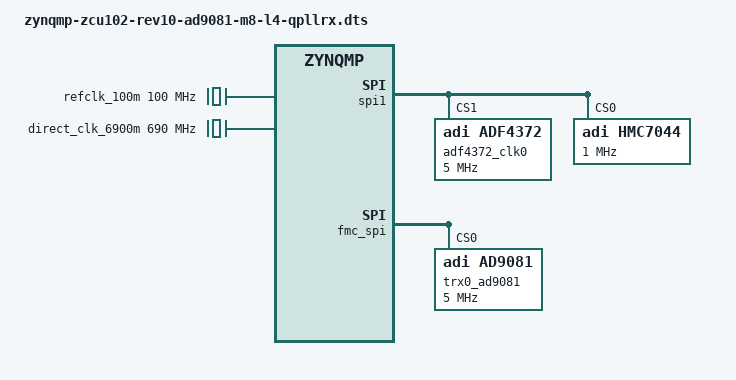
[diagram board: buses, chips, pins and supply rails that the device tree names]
// SPDX-License-Identifier: GPL-2.0
/*
 * Analog Devices AD9081-FMC-EBZ
 * https://wiki.analog.com/resources/eval/user-guides/quadmxfe/quick-start
 * https://wiki.analog.com/resources/tools-software/linux-drivers/iio-mxfe/ad9081
 *
 * hdl_project: <ad9081_fmca_ebz/zcu102>
 * board_revision: <>
 *
 * Copyright (C) 2019-2020 Analog Devices Inc.
 */

#include "zynqmp-zcu102-rev10-ad9081.dts"
#include <dt-bindings/jesd204/adxcvr.h>

/*
 * This is an alternative example device tree which uses QPLL for both adxcvr instances.
 * For this to work both instances need to configure the same lane rate.
 * Below configuration only works on an AD9081-FMC-EBZ Rev.C board with 100MHz VCXO.
 * In case you want to try it on a board with 122.880MHz VCXO comment/uncomment lines below.
 *
 * The Rx links (ADC Path) operate with the following parameters:
 *
 *    * Rx Deframer parameters: L=4, M=8, F=4, S=1, N’=16, N = 16
 *    * Dual link : No
 *    * RX_DEVICE_CLK – 287.5 MHz (Lane Rate/40)
 *    * REF_CLK – 575 MHz (Lane Rate/20)
 *    * JESD204B Lane Rate – 11.5Gbps
 *    * QPLL0
 *    * K = 32
 *    * ADC Clock Rate 2.3 G with Decimation /8
 *
 * The Tx links (DAC Path) operate with the following parameters:
 *
 *    * Tx Framer parameters: L=4, M=8, F=4, S=1, N’=16, N = 16
 *    * Dual link : No
 *    * TX_DEVICE_CLK – 287.5 MHz (Lane Rate/40)
 *    * REF_CLK – 575 MHz (Lane Rate/20)
 *    * JESD204B Lane Rate – 11.5Gbps
 *    * QPLL0
 *    * K = 32
 *    * DAC Clock Rate 6.9 G with Interpolation *24
 */

// #define VCXO_FREQUENCY		122880000
// #define EXT_REF_FREQUENCY       30720000
// #define HMC7044_PLL2_FREQUENCY	2874880000
// #define DAC_FREQUENCY		6899712000
// #define ADC_FREQUENCY		2299904000

#define VCXO_FREQUENCY		100000000
#define EXT_REF_FREQUENCY       100000000
#define HMC7044_PLL2_FREQUENCY	2875000000
#define DAC_FREQUENCY		6900000000
#define ADC_FREQUENCY		2300000000

/ {
	clocks {
		refclk_100m: clock@0 {
			#clock-cells = <0>;
			compatible = "fixed-clock";
			clock-frequency = <100000000>;
			clock-output-names = "refclk_100m";
		};

                direct_clk_6900m: clock@1 {
			#clock-cells = <0>;
			compatible = "fixed-clock";
			clock-frequency = <690000000>; /* DAC_FREQUENCY / 10 */
			clock-output-names = "direct_clk_6900m";
		};
	};
};

&axi_ad9081_adxcvr_rx {
        /* Switch to QPLL */
	adi,sys-clk-select = <XCVR_QPLL>;
	adi,out-clk-select = <XCVR_REFCLK_DIV2>;

};

&spi1 {
	status = "okay";

	adf4372_clk0: adf4372-0@1 {
		compatible = "adi,adf4372";
		reg = <1>; /* FIXME - UPDATE ME */

		#address-cells = <1>;
		#clock-cells = <1>;
		#size-cells = <0>;

		spi-max-frequency = <5000000>;
		adi,spi-3wire-enable;
		adi,muxout-select = <1>;
		clocks = <&refclk_100m>;
		clock-names = "clkin";
		clock-output-names = "pll0-clk-rf8", "pll0-clk-rfaux8",
			"pll0-clk-rf16";

                clock-scales = <1 10>; /* 6.9G > 2^32 let's scale by 10 */

                channel@0 {
			reg = <0>;
			adi,power-up-frequency = /bits/ 64 <DAC_FREQUENCY>;
		};
	};

	hmc7044: hmc7044@0 {
		#address-cells = <1>;
		#size-cells = <0>;
		#clock-cells = <1>;
		compatible = "adi,hmc7044";
		reg = <0>;
		spi-max-frequency = <1000000>;

		jesd204-device;
		#jesd204-cells = <2>;
		jesd204-sysref-provider;

		adi,jesd204-max-sysref-frequency-hz = <2000000>; /* 2 MHz */

		adi,pll1-clkin-frequencies = <VCXO_FREQUENCY EXT_REF_FREQUENCY 0 0>;

                adi,pll1-ref-prio-ctrl = <0xE1>; /* prefer CLKIN1 -> CLKIN0 -> CLKIN2 -> CLKIN3 */

		adi,pll1-loop-bandwidth-hz = <200>;

		adi,vcxo-frequency = <VCXO_FREQUENCY>;

		adi,pll2-output-frequency = <HMC7044_PLL2_FREQUENCY>;

		adi,sysref-timer-divider = <1024>;
		adi,pulse-generator-mode = <0>;

		adi,clkin0-buffer-mode  = <0x07>;
		adi,clkin1-buffer-mode  = <0x07>;
		adi,oscin-buffer-mode = <0x15>;

		adi,gpi-controls = <0x00 0x00 0x00 0x00>;
		adi,gpo-controls = <0x37 0x33 0x00 0x00>;

                adi,sync-pin-mode = <0>;

		clock-output-names =
                        "hmc7044_out0", "hmc7044_out1", "hmc7044_out2",
                        "hmc7044_out3", "hmc7044_out4", "hmc7044_out5",
                        "hmc7044_out6", "hmc7044_out7", "hmc7044_out8",
                        "hmc7044_out9", "hmc7044_out10", "hmc7044_out11",
                        "hmc7044_out12", "hmc7044_out13";

		// hmc7044_c0: channel@0 {
		// 	reg = <0>;
		// 	adi,extended-name = "CORE_CLK_RX";
		// 	adi,divider = <8>;
		// 	adi,driver-mode = <HMC7044_DRIVER_MODE_LVDS>;
		// };
		hmc7044_c2: channel@2 {
			reg = <2>;
			adi,extended-name = "DEV_REFCLK";
			adi,divider = <10>; /* 287.5 MHz*/
			adi,driver-mode = <HMC7044_DRIVER_MODE_LVDS>;
		};
		hmc7044_c3: channel@3 {
			reg = <3>;
			adi,extended-name = "DEV_SYSREF";
			adi,divider = <1280>; /* Recomputed by jesd204-fsm */
			adi,driver-mode = <HMC7044_DRIVER_MODE_LVDS>;
			adi,jesd204-sysref-chan;
		};

		hmc7044_c6: channel@6 {
			reg = <6>;
			adi,extended-name = "CORE_CLK_TX";
			adi,divider = <10>; /* 287.5 MHz*/
			adi,driver-mode = <HMC7044_DRIVER_MODE_LVDS>;
		};

		// hmc7044_c8: channel@8 {
		// 	reg = <8>;
		// 	adi,extended-name = "FPGA_REFCLK1";
		// 	adi,divider = <8>;
		// 	adi,driver-mode = <HMC7044_DRIVER_MODE_LVDS>;
		// };
		hmc7044_c10: channel@10 {
			reg = <10>;
			adi,extended-name = "CORE_CLK_RX_ALT";
			adi,divider = <10>; /* 287.5 MHz*/
			adi,driver-mode = <HMC7044_DRIVER_MODE_LVDS>;
		};

		hmc7044_c12: channel@12 {
			reg = <12>;
			adi,extended-name = "FPGA_REFCLK2";
			adi,divider = <5>;  /* 575 MHz*/
			adi,driver-mode = <HMC7044_DRIVER_MODE_LVDS>;
		};
		hmc7044_c13: channel@13 {
			reg = <13>;
			adi,extended-name = "FPGA_SYSREF";
			adi,divider = <1280>; /* Recomputed by jesd204-fsm */
			adi,driver-mode = <HMC7044_DRIVER_MODE_LVDS>;
			adi,jesd204-sysref-chan;
		};
	};
};

&fmc_spi {

	trx0_ad9081: ad9081@0 {
		#address-cells = <1>;
		#size-cells = <0>;
		compatible = "adi,ad9081";
		reg = <0>;
		spi-max-frequency = <5000000>;

		/* Clocks */
		clocks = <&hmc7044 2>; /* Use for internal PLL */

                //clocks = <&direct_clk_6900m>; /* Use for direct clocking using external signal generator*/
                //dev_clk-clock-scales = <1 10>;

                //clocks = <&adf4372_clk0 0>; /* Use for direct clocking using ADF4372*/
                //dev_clk-clock-scales = <1 10>;

		clock-names = "dev_clk";

		clock-output-names = "rx_sampl_clk", "tx_sampl_clk";
		#clock-cells = <1>;

		jesd204-device;
		#jesd204-cells = <2>;
		jesd204-top-device = <0>; /* This is the TOP device */
		jesd204-link-ids = <FRAMER_LINK0_RX DEFRAMER_LINK0_TX>;

		jesd204-inputs =
			<&axi_ad9081_core_rx 0 FRAMER_LINK0_RX>,
			<&axi_ad9081_core_tx 0 DEFRAMER_LINK0_TX>;

		adi,tx-dacs {
			#size-cells = <0>;
			#address-cells = <1>;

			adi,dac-frequency-hz = /bits/ 64 <DAC_FREQUENCY>;

			adi,main-data-paths {
				#address-cells = <1>;
				#size-cells = <0>;

				adi,interpolation = <4>;

				ad9081_dac0: dac@0 {
					reg = <0>;
					adi,crossbar-select = <&ad9081_tx_fddc_chan0>;
					adi,nco-frequency-shift-hz = /bits/ 64 <1000000000>; /* 100 MHz */
				};
				ad9081_dac1: dac@1 {
					reg = <1>;
					adi,crossbar-select = <&ad9081_tx_fddc_chan1>;
					adi,nco-frequency-shift-hz = /bits/ 64 <1100000000>; /* 200 MHz */
				};
				ad9081_dac2: dac@2 {
					reg = <2>;
					adi,crossbar-select = <&ad9081_tx_fddc_chan2>; /* All 4 channels @ dac2 */
					adi,nco-frequency-shift-hz = /bits/ 64 <1200000000>;  /* 300 MHz */
				};
				ad9081_dac3: dac@3 {
					reg = <3>;
					adi,crossbar-select = <&ad9081_tx_fddc_chan3>; /* All 4 channels @ dac2 */
					adi,nco-frequency-shift-hz = /bits/ 64 <1300000000>; /* 400 MHz */
				};
			};

			adi,channelizer-paths {
				#address-cells = <1>;
				#size-cells = <0>;
				adi,interpolation = <6>;

				ad9081_tx_fddc_chan0: channel@0 {
					reg = <0>;
					adi,gain = <2048>; /* 2048 * 10^(gain_dB/20) */
					adi,nco-frequency-shift-hz =  /bits/ 64 <0>;

				};
				ad9081_tx_fddc_chan1: channel@1 {
					reg = <1>;
					adi,gain = <2048>; /* 2048 * 10^(gain_dB/20) */
					adi,nco-frequency-shift-hz =  /bits/ 64 <0>;

				};
				ad9081_tx_fddc_chan2: channel@2 {
					reg = <2>;
					adi,gain = <2048>; /* 2048 * 10^(gain_dB/20) */
					adi,nco-frequency-shift-hz =  /bits/ 64 <0>;

				};
				ad9081_tx_fddc_chan3: channel@3 {
					reg = <3>;
					adi,gain = <2048>; /* 2048 * 10^(gain_dB/20) */
					adi,nco-frequency-shift-hz =  /bits/ 64 <0>;

				};
			};

			adi,jesd-links {
				#size-cells = <0>;
				#address-cells = <1>;

				ad9081_tx_jesd_l0: link@0 {
					#address-cells = <1>;
					#size-cells = <0>;
					reg = <0>;

					adi,logical-lane-mapping = /bits/ 8 <0 2 7 7 1 7 7 3>;

					adi,link-mode = <9>;			/* JESD Quick Configuration Mode */
					adi,subclass = <1>;			/* JESD SUBCLASS 0,1,2 */
					adi,version = <1>;			/* JESD VERSION 0=204A,1=204B,2=204C */
					adi,dual-link = <0>;			/* JESD Dual Link Mode */

					adi,converters-per-device = <8>;	/* JESD M */
					adi,octets-per-frame = <4>;		/* JESD F */

					adi,frames-per-multiframe = <32>;	/* JESD K */
					adi,converter-resolution = <16>;	/* JESD N */
					adi,bits-per-sample = <16>;		/* JESD NP' */
					adi,control-bits-per-sample = <0>;	/* JESD CS */
					adi,lanes-per-device = <4>;		/* JESD L */
					adi,samples-per-converter-per-frame = <1>; /* JESD S */
					adi,high-density = <1>;			/* JESD HD */
				};
			};
		};

		adi,rx-adcs {
			#size-cells = <0>;
			#address-cells = <1>;

			adi,adc-frequency-hz = /bits/ 64 <ADC_FREQUENCY>;

			adi,main-data-paths {
				#address-cells = <1>;
				#size-cells = <0>;


				ad9081_adc0: adc@0 {
					reg = <0>;
					adi,decimation = <2>;
					adi,nco-frequency-shift-hz =  /bits/ 64 <400000000>;
					adi,nco-mode = <AD9081_ADC_NCO_VIF>;
					//adi,crossbar-select = <&ad9081_rx_fddc_chan0>, <&ad9081_rx_fddc_chan2>; /* Static for now */
				};
				ad9081_adc1: adc@1 {
					reg = <1>;
					adi,decimation = <2>;
					adi,nco-frequency-shift-hz =  /bits/ 64 <(-400000000)>;
					adi,nco-mode = <AD9081_ADC_NCO_VIF>;
					//adi,crossbar-select = <&ad9081_rx_fddc_chan1>, <&ad9081_rx_fddc_chan3>; /* Static for now */
				};
				ad9081_adc2: adc@2 {
					reg = <2>;
					adi,decimation = <2>;
					adi,nco-frequency-shift-hz =  /bits/ 64 <100000000>;
					adi,nco-mode = <AD9081_ADC_NCO_VIF>;
					//adi,crossbar-select = <&ad9081_rx_fddc_chan4>, <&ad9081_rx_fddc_chan6>; /* Static for now */
				};
				ad9081_adc3: adc@3 {
					reg = <3>;
					adi,decimation = <2>;
					adi,nco-frequency-shift-hz =  /bits/ 64 <100000000>;
					adi,nco-mode = <AD9081_ADC_NCO_VIF>;
					//adi,crossbar-select = <&ad9081_rx_fddc_chan5>, <&ad9081_rx_fddc_chan7>; /* Static for now */
				};
			};

			adi,channelizer-paths {
				#address-cells = <1>;
				#size-cells = <0>;


				ad9081_rx_fddc_chan0: channel@0 {
					reg = <0>;
					adi,decimation = <4>;
					adi,gain = <2048>; /* 2048 * 10^(gain_dB/20) */
					adi,nco-frequency-shift-hz =  /bits/ 64 <0>;

				};
				ad9081_rx_fddc_chan1: channel@1 {
					reg = <1>;
					adi,decimation = <4>;
					adi,gain = <2048>; /* 2048 * 10^(gain_dB/20) */
					adi,nco-frequency-shift-hz =  /bits/ 64 <0>;

				};
				ad9081_rx_fddc_chan4: channel@4 {
					reg = <4>;
					adi,decimation = <4>;
					adi,gain = <2048>; /* 2048 * 10^(gain_dB/20) */
					adi,nco-frequency-shift-hz =  /bits/ 64 <0>;

				};
				ad9081_rx_fddc_chan5: channel@5 {
					reg = <5>;
					adi,decimation = <4>;
					adi,gain = <2048>; /* 2048 * 10^(gain_dB/20) */
					adi,nco-frequency-shift-hz =  /bits/ 64 <0>;

				};
			};

			adi,jesd-links {
				#size-cells = <0>;
				#address-cells = <1>;

				ad9081_rx_jesd_l0: link@0 {
					reg = <0>;
					adi,converter-select =
						<&ad9081_rx_fddc_chan0 FDDC_I>, <&ad9081_rx_fddc_chan0 FDDC_Q>,
						<&ad9081_rx_fddc_chan1 FDDC_I>, <&ad9081_rx_fddc_chan1 FDDC_Q>,
						<&ad9081_rx_fddc_chan4 FDDC_I>, <&ad9081_rx_fddc_chan4 FDDC_Q>,
						<&ad9081_rx_fddc_chan5 FDDC_I>, <&ad9081_rx_fddc_chan5 FDDC_Q>;

					adi,logical-lane-mapping = /bits/ 8 <2 0 7 7 7 7 3 1>;

					adi,link-mode = <10>;			/* JESD Quick Configuration Mode */
					adi,subclass = <1>;			/* JESD SUBCLASS 0,1,2 */
					adi,version = <1>;			/* JESD VERSION 0=204A,1=204B,2=204C */
					adi,dual-link = <0>;			/* JESD Dual Link Mode */

					adi,converters-per-device = <8>;	/* JESD M */
					adi,octets-per-frame = <4>;		/* JESD F */

					adi,frames-per-multiframe = <32>;	/* JESD K */
					adi,converter-resolution = <16>;	/* JESD N */
					adi,bits-per-sample = <16>;		/* JESD NP' */
					adi,control-bits-per-sample = <0>;	/* JESD CS */
					adi,lanes-per-device = <4>;		/* JESD L */
					adi,samples-per-converter-per-frame = <1>; /* JESD S */
					adi,high-density = <1>;			/* JESD HD */
				};
			};
		};
	};
};
